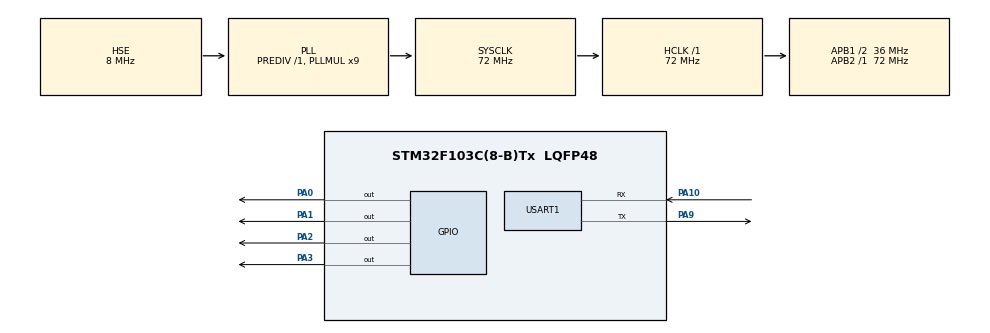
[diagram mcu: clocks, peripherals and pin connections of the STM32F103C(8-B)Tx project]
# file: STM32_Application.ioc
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Mcu.Family=STM32F1
Mcu.Name=STM32F103C(8-B)Tx
Mcu.Package=LQFP48
NVIC.PriorityGroup=NVIC_PRIORITYGROUP_4
PA0-WKUP.Signal=GPIO_Output
PA1.Signal=GPIO_Output
PA10.Mode=Asynchronous
PA10.Signal=USART1_RX
PA13.Mode=Serial_Wire
PA13.Signal=SYS_JTMS-SWDIO
PA14.Mode=Serial_Wire
PA14.Signal=SYS_JTCK-SWCLK
PA2.Signal=GPIO_Output
PA3.Signal=GPIO_Output
PA9.Mode=Asynchronous
PA9.Signal=USART1_TX
PD0-OSC_IN.Mode=HSE-External-Oscillator
PD0-OSC_IN.Signal=RCC_OSC_IN
PD1-OSC_OUT.Mode=HSE-External-Oscillator
PD1-OSC_OUT.Signal=RCC_OSC_OUT
ProjectManager.HeapSize=0x200
ProjectManager.StackSize=0x400
ProjectManager.TargetToolchain=STM32CubeIDE
RCC.AHBFreq_Value=72000000
RCC.APB1CLKDivider=RCC_HCLK_DIV2
RCC.APB1Freq_Value=36000000
RCC.APB1TimFreq_Value=72000000
RCC.APB2Freq_Value=72000000
RCC.APB2TimFreq_Value=72000000
RCC.HCLKFreq_Value=72000000
RCC.PLLMUL=RCC_PLL_MUL9
RCC.PLLSourceVirtual=RCC_PLLSOURCE_HSE
RCC.SYSCLKFreq_VALUE=72000000
RCC.SYSCLKSource=RCC_SYSCLKSOURCE_PLLCLK
RCC.USBFreq_Value=72000000
USART1.VirtualMode=VM_ASYNC
board=custom

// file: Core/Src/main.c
/* USER CODE BEGIN Header */
/**
  ******************************************************************************
  * @file           : main.c
  * @brief          : Main program body
  ******************************************************************************
  * @attention
  *
  * Copyright (c) 2026 STMicroelectronics.
  * All rights reserved.
  *
  * This software is licensed under terms that can be found in the LICENSE file
  * in the root directory of this software component.
  * If no LICENSE file comes with this software, it is provided AS-IS.
  *
  ******************************************************************************
  */
/* USER CODE END Header */
#include "main.h"
#include "usart.h"
#include "gpio.h"

void SystemClock_Config(void);

/* USER CODE BEGIN 0 */
#include "FirmwareInfo.h"
#include <stddef.h>
#include <stdio.h>
#include <string.h>

#define CMD_ENTER_BOOTLOADER  0x55U
#define CMD_GET_VERSION       0x04U

static void Application_RequestOTA(void)
{
    FirmwareInfo_t info;

    /* Read existing firmware information */
    FirmwareInfo_Load(&info);

    /* First boot after erase */
    if (info.version == 0xFFFFFFFF)
    {
        info.version = 0;
    }

    /* Set OTA request flag only */
    info.reserved = UPDATE_FLAG_REQUEST;

    /* Save the complete structure back to flash */
    if (FirmwareInfo_Save(&info) != HAL_OK)
    {
        return;
    }

    /* Inform PC */
    HAL_UART_Transmit(&huart1,
                       (uint8_t *)"ACK\r\n",
                       5,
                       HAL_MAX_DELAY);

    HAL_Delay(100);

    /* Reset into bootloader */
    NVIC_SystemReset();
}

/*
 * FIX: previously CMD_GET_VERSION was #defined but never actually
 * handled anywhere in the main loop, so any 0x04 byte sent by the
 * ESP32 while the app was running was silently dropped -- it only
 * ever got answered by accident, when the byte happened to land
 * inside the bootloader's post-reset wait window instead. This
 * function answers it directly from the app, the same way the
 * bootloader does, so "checking STM32" succeeds without needing a
 * reset.
 */
static void Application_SendVersion(void)
{
    FirmwareInfo_t info;
    char msg[32];

    FirmwareInfo_Load(&info);

    if (info.version == 0xFFFFFFFF)
    {
        info.version = 0;
    }

    sprintf(msg, "VERSION:%lu\r\n", (unsigned long)info.version);
    HAL_UART_Transmit(&huart1, (uint8_t *)msg, strlen(msg), HAL_MAX_DELAY);
}
/* USER CODE END 0 */

int main(void)
{

  /* MCU Configuration--------------------------------------------------------*/

  /* Reset of all peripherals, Initializes the Flash interface and the Systick. */
  HAL_Init();

  /* Relocate Vector Table */
  SCB->VTOR = 0x08008000U;

  /* Configure the system clock */
  SystemClock_Config();

  /* Initialize all configured peripherals */
  MX_GPIO_Init();
  MX_USART1_UART_Init();

  /* USER CODE BEGIN 2 */
  uint8_t cmd;

  /* FIX: non-blocking LED timing state. HAL_Delay(1000) x2 per loop
   * meant the UART receive (10ms window) only ran roughly once every
   * ~2 seconds -- easily missing any byte the ESP32 sends. Replacing
   * both delays with a HAL_GetTick() based toggle lets the loop cycle
   * every ~10ms instead, so incoming UART bytes are caught reliably. */
  uint32_t lastToggle = 0;
  uint8_t  ledState = 0;
  /* USER CODE END 2 */

  /* Infinite loop */
  /* USER CODE BEGIN WHILE */
  while (1)
  {
    /* Check whether PC/ESP32 sent a command byte. */
    if (HAL_UART_Receive(&huart1, &cmd, 1U, 10U) == HAL_OK)
    {
      if (cmd == CMD_ENTER_BOOTLOADER)
      {
        Application_RequestOTA();
      }
      else if (cmd == CMD_GET_VERSION)
      {
        Application_SendVersion();
      }
    }

    /* Non-blocking LED behavior (replaces the two HAL_Delay(1000) calls) */
    /* Non-blocking 1-bit binary counter */
    /* Non-blocking 3-bit binary counter */
    /* Non-blocking 4-bit binary counter */
    if (HAL_GetTick() - lastToggle >= 1000)
    {
        lastToggle = HAL_GetTick();

        static uint8_t count = 0;

        HAL_GPIO_WritePin(GPIOA, GPIO_PIN_0,
                          (count & 0x01) ? GPIO_PIN_SET : GPIO_PIN_RESET);

        HAL_GPIO_WritePin(GPIOA, GPIO_PIN_1,
                          (count & 0x02) ? GPIO_PIN_SET : GPIO_PIN_RESET);

        HAL_GPIO_WritePin(GPIOA, GPIO_PIN_2,
                          (count & 0x04) ? GPIO_PIN_SET : GPIO_PIN_RESET);

        HAL_GPIO_WritePin(GPIOA, GPIO_PIN_3,
                          (count & 0x08) ? GPIO_PIN_SET : GPIO_PIN_RESET);

        count = (count + 1) % 16;
    }

    /* USER CODE END WHILE */

  }
}

void SystemClock_Config(void)
{
  RCC_OscInitTypeDef RCC_OscInitStruct = {0};
  RCC_ClkInitTypeDef RCC_ClkInitStruct = {0};

  /** Initializes the RCC Oscillators according to the specified parameters
  * in the RCC_OscInitTypeDef structure.
  */
  RCC_OscInitStruct.OscillatorType = RCC_OSCILLATORTYPE_HSE;
  RCC_OscInitStruct.HSEState = RCC_HSE_ON;
  RCC_OscInitStruct.HSEPredivValue = RCC_HSE_PREDIV_DIV1;
  RCC_OscInitStruct.HSIState = RCC_HSI_ON;
  RCC_OscInitStruct.PLL.PLLState = RCC_PLL_ON;
  RCC_OscInitStruct.PLL.PLLSource = RCC_PLLSOURCE_HSE;
  RCC_OscInitStruct.PLL.PLLMUL = RCC_PLL_MUL9;
  if (HAL_RCC_OscConfig(&RCC_OscInitStruct) != HAL_OK)
  {
    Error_Handler();
  }

  /** Initializes the CPU, AHB and APB buses clocks
  */
  RCC_ClkInitStruct.ClockType = RCC_CLOCKTYPE_HCLK|RCC_CLOCKTYPE_SYSCLK
                              |RCC_CLOCKTYPE_PCLK1|RCC_CLOCKTYPE_PCLK2;
  RCC_ClkInitStruct.SYSCLKSource = RCC_SYSCLKSOURCE_PLLCLK;
  RCC_ClkInitStruct.AHBCLKDivider = RCC_SYSCLK_DIV1;
  RCC_ClkInitStruct.APB1CLKDivider = RCC_HCLK_DIV2;
  RCC_ClkInitStruct.APB2CLKDivider = RCC_HCLK_DIV1;

  if (HAL_RCC_ClockConfig(&RCC_ClkInitStruct, FLASH_LATENCY_2) != HAL_OK)
  {
    Error_Handler();
  }
}

void Error_Handler(void)
{
  __disable_irq();
  while (1)
  {
  }
}
